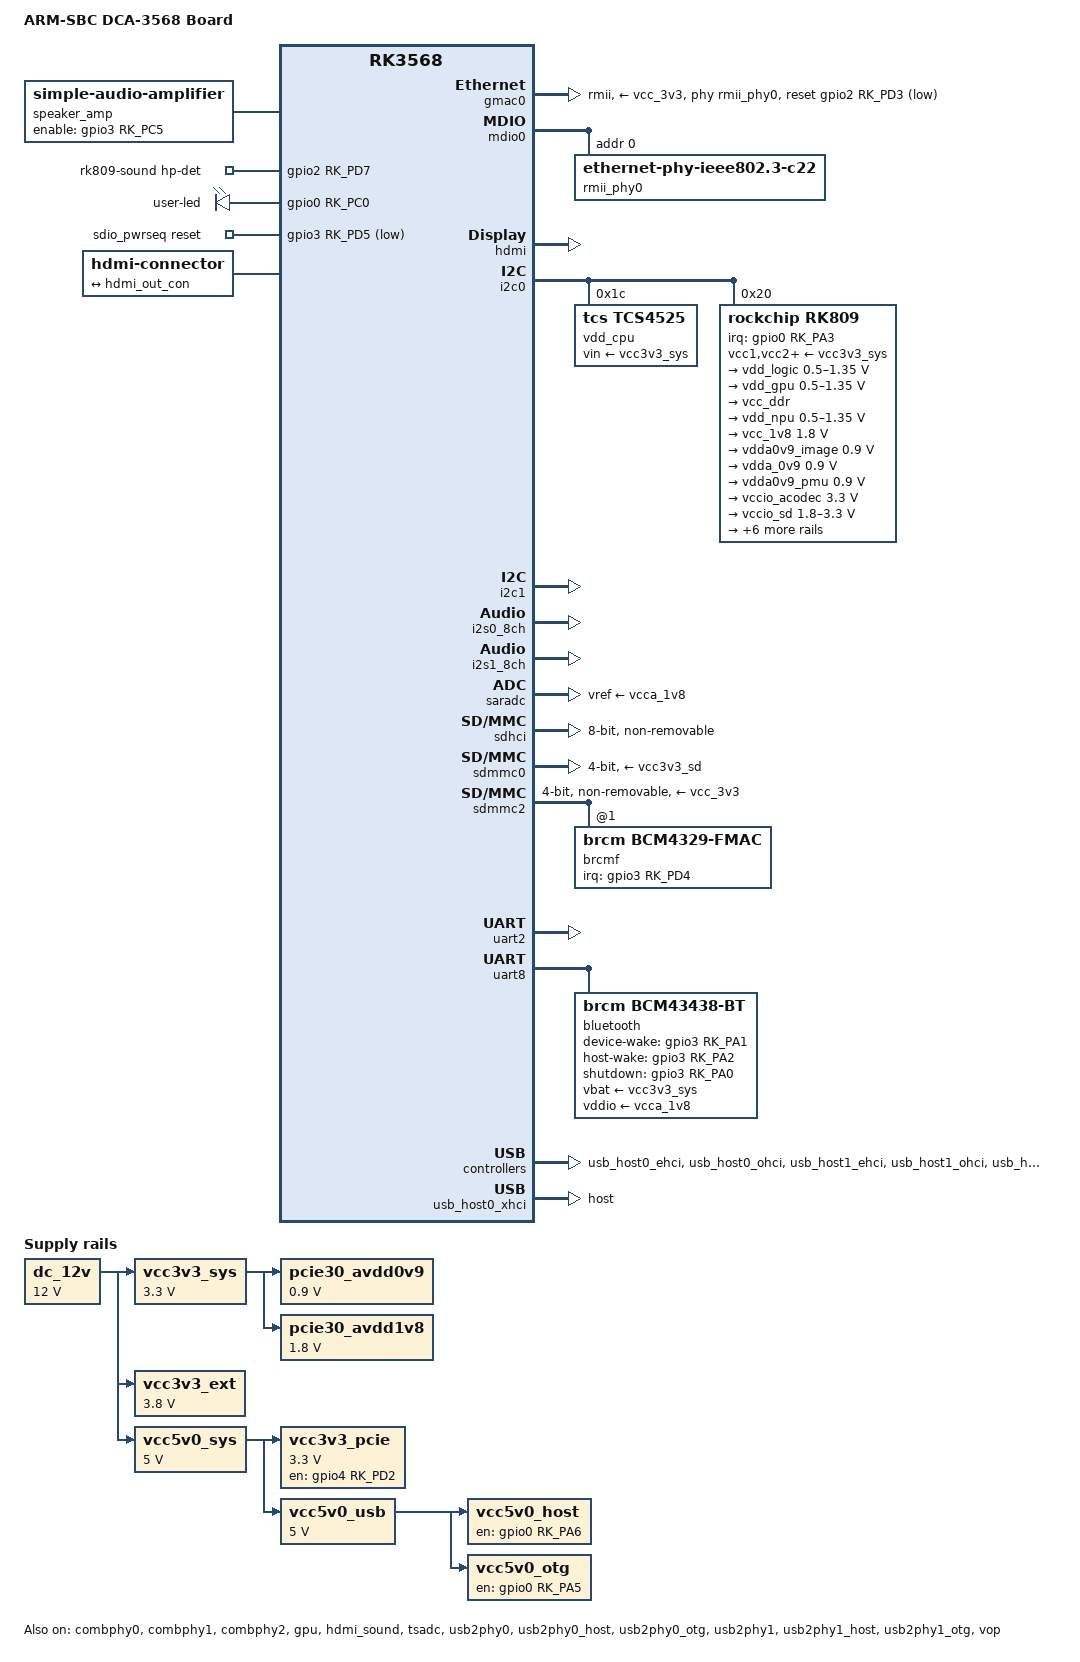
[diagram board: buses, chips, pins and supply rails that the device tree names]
// SPDX-License-Identifier: (GPL-2.0+ OR MIT)
/*
 * Copyright (c) 2021 Rockchip Electronics Co., Ltd.
 */

/dts-v1/;

#include <dt-bindings/gpio/gpio.h>
#include <dt-bindings/pinctrl/rockchip.h>
#include <dt-bindings/soc/rockchip,vop2.h>
#include "rk3568.dtsi"

/ {
	model = "ARM-SBC DCA-3568 Board";
	compatible = "arm-sbc,dca-3568", "rockchip,rk3568";

	aliases {
		ethernet0 = &gmac0;
		mmc0 = &sdhci;
		mmc1 = &sdmmc0;
	};

	chosen: chosen {
		stdout-path = "serial2:1500000n8";
	};
		
	speaker_amp: audio-amplifier {
		compatible = "simple-audio-amplifier";
		enable-gpios = <&gpio3 RK_PC5 GPIO_ACTIVE_HIGH>;
		sound-name-prefix = "Speaker Amp";
	};

	
    rk809-sound {
		compatible = "simple-audio-card";
		simple-audio-card,format = "i2s";
		simple-audio-card,name = "ROCKCHIP-809-SOUND";
		simple-audio-card,hp-det-gpio = <&gpio2 RK_PD7 GPIO_ACTIVE_HIGH>;
		simple-audio-card,mclk-fs = <256>;
		status = "okay";
		
		simple-audio-card,widgets =
			"Headphone", "Headphones",
			"Speaker", "Speaker";
		simple-audio-card,routing =
			"Headphones", "HPOL",
			"Headphones", "HPOR",
			"Speaker", "SPKO";
         
		simple-audio-card,cpu {
			sound-dai = <&i2s1_8ch>;
		};

		simple-audio-card,codec {
			sound-dai = <&rk809>;
		};
	};

	leds {
		compatible = "gpio-leds";

		led-user {
			label = "user-led";
			gpios = <&gpio0 RK_PC0 GPIO_ACTIVE_HIGH>;
			linux,default-trigger = "heartbeat";
			pinctrl-names = "default";
			pinctrl-0 = <&user_led_enable_h>;
			};
		};
	
	sdio_pwrseq: sdio-pwrseq {
		compatible = "mmc-pwrseq-simple";
		clocks = <&rk809 1>;
		clock-names = "ext_clock";
		pinctrl-names = "default";
		pinctrl-0 = <&wifi_enable>;
		post-power-on-delay-ms = <100>;
		power-off-delay-us = <5000000>;
		reset-gpios = <&gpio3 RK_PD5 GPIO_ACTIVE_LOW>;
	};

	hdmi-con {
		compatible = "hdmi-connector";
		type = "a";

		port {
			hdmi_con_in: endpoint {
				remote-endpoint = <&hdmi_out_con>;
			};
		};
	};

	dc_12v: dc-12v-regulator {
		compatible = "regulator-fixed";
		regulator-name = "dc_12v";
		regulator-always-on;
		regulator-boot-on;
		regulator-min-microvolt = <12000000>;
		regulator-max-microvolt = <12000000>;
	};
	
	vcc3v3_sys: vcc3v3-sys-regulator {
		compatible = "regulator-fixed";
		regulator-name = "vcc3v3_sys";
		regulator-always-on;
		regulator-boot-on;
		regulator-min-microvolt = <3300000>;
		regulator-max-microvolt = <3300000>;
		vin-supply = <&dc_12v>;
	};
	
	vcc3v3_ext: regulator-vcc3v3-ext {
		compatible = "regulator-fixed";
		regulator-name = "vcc3v3_ext";
		regulator-always-on;
		regulator-boot-on;
		regulator-min-microvolt = <3800000>;
		regulator-max-microvolt = <3800000>;
		vin-supply = <&dc_12v>;
	};
	
	vcc5v0_sys: vcc5v0-sys-regulator {
		compatible = "regulator-fixed";
		regulator-name = "vcc5v0_sys";
		regulator-always-on;
		regulator-boot-on;
		regulator-min-microvolt = <5000000>;
		regulator-max-microvolt = <5000000>;
		vin-supply = <&dc_12v>;
	};

	pcie30_avdd0v9: pcie30-avdd0v9-regulator {
		compatible = "regulator-fixed";
		regulator-name = "pcie30_avdd0v9";
		regulator-always-on;
		regulator-boot-on;
		regulator-min-microvolt = <900000>;
		regulator-max-microvolt = <900000>;
		vin-supply = <&vcc3v3_sys>;
	};

	pcie30_avdd1v8: pcie30-avdd1v8-regulator {
		compatible = "regulator-fixed";
		regulator-name = "pcie30_avdd1v8";
		regulator-always-on;
		regulator-boot-on;
		regulator-min-microvolt = <1800000>;
		regulator-max-microvolt = <1800000>;
		vin-supply = <&vcc3v3_sys>;
	};

	vcc3v3_pcie: vcc3v3-pcie-regulator {
		compatible = "regulator-fixed";
		regulator-name = "vcc3v3_pcie";
		enable-active-high;
		regulator-min-microvolt = <3300000>;
		regulator-max-microvolt = <3300000>;
		pinctrl-names = "default";
		pinctrl-0 = <&vcc3v3_pcie_en_pin>;
		gpio = <&gpio4 RK_PD2 GPIO_ACTIVE_HIGH>;
		startup-delay-us = <5000>;
		vin-supply = <&vcc5v0_sys>;
	};

	vcc5v0_usb: vcc5v0-usb-regulator {
		compatible = "regulator-fixed";
		regulator-name = "vcc5v0_usb";
		regulator-always-on;
		regulator-boot-on;
		regulator-min-microvolt = <5000000>;
		regulator-max-microvolt = <5000000>;
		vin-supply = <&vcc5v0_sys>;
	};

	vcc5v0_host: vcc5v0-host-regulator {
		compatible = "regulator-fixed";
		regulator-name = "vcc5v0_host";
		enable-active-high;
		gpio = <&gpio0 RK_PA6 GPIO_ACTIVE_HIGH>;
		pinctrl-names = "default";
		pinctrl-0 = <&vcc5v0_host_en>;
		regulator-always-on;
		vin-supply = <&vcc5v0_usb>;
	};

	vcc5v0_otg: vcc5v0-otg-regulator {
		compatible = "regulator-fixed";
		regulator-name = "vcc5v0_otg";
		enable-active-high;
		gpio = <&gpio0 RK_PA5 GPIO_ACTIVE_HIGH>;
		pinctrl-names = "default";
		pinctrl-0 = <&vcc5v0_otg_en>;
		vin-supply = <&vcc5v0_usb>;
	};
};

&combphy0 {
	/* Used for USB3 */
	phy-supply = <&vcc5v0_host>;
	status = "okay";
};

&combphy1 {
	/* Used for USB3 */
	phy-supply = <&vcc5v0_otg>;
	status = "okay";
};

&combphy2 {
	/* used for SATA */
	status = "okay";
};

&cpu0 {
	cpu-supply = <&vdd_cpu>;
};

&cpu1 {
	cpu-supply = <&vdd_cpu>;
};

&cpu2 {
	cpu-supply = <&vdd_cpu>;
};

&cpu3 {
	cpu-supply = <&vdd_cpu>;
};

&gmac0 {

	phy-mode = "rmii";
	clock_in_out = "output";

	snps,reset-gpio = <&gpio2 RK_PD3 GPIO_ACTIVE_LOW>;
	snps,reset-active-low;
	snps,reset-delays-us = <0 20000 100000>;
	assigned-clocks = <&cru SCLK_GMAC0_RX_TX>, <&cru SCLK_GMAC0>, <&cru CLK_MAC0_OUT>;
	assigned-clock-parents = <&cru SCLK_GMAC0_RMII_SPEED>;
	assigned-clock-rates = <0>, <50000000>, <25000000>;

	pinctrl-names = "default";
	pinctrl-0 = <&gmac0_miim &gmac0_clkinout &gmac0_rx_bus2 &gmac0_tx_bus2 &eth0_pins>;

	phy-handle = <&rmii_phy0>;
	phy-supply = <&vcc_3v3>;

	pinctrl-names = "default";
	status = "okay";
};

&mdio0 {
	rmii_phy0: phy@0 {
		compatible = "ethernet-phy-ieee802.3-c22";
		reg = <0x0>;
		clocks = <&cru CLK_MAC0_OUT>;
	};
};

&gpu {
	mali-supply = <&vdd_gpu>;
	status = "okay";
};

&hdmi {
	avdd-0v9-supply = <&vdda0v9_image>;
	avdd-1v8-supply = <&vcca1v8_image>;
	status = "okay";
};

&hdmi_in {
	hdmi_in_vp0: endpoint {
		remote-endpoint = <&vp0_out_hdmi>;
	};
};

&hdmi_out {
	hdmi_out_con: endpoint {
		remote-endpoint = <&hdmi_con_in>;
	};
};

&hdmi_sound {
	status = "okay";
};

&i2c0 {
	status = "okay";

	vdd_cpu: regulator@1c {
		compatible = "tcs,tcs4525";
		reg = <0x1c>;
		fcs,suspend-voltage-selector = <1>;
		regulator-name = "vdd_cpu";
		regulator-always-on;
		regulator-boot-on;
		regulator-min-microvolt = <800000>;
		regulator-max-microvolt = <1150000>;
		regulator-ramp-delay = <2300>;
		vin-supply = <&vcc3v3_sys>;

		regulator-state-mem {
			regulator-off-in-suspend;
		};
	};

	rk809: pmic@20 {
		compatible = "rockchip,rk809";
		reg = <0x20>;
		interrupt-parent = <&gpio0>;
		interrupts = <RK_PA3 IRQ_TYPE_LEVEL_LOW>;
		assigned-clocks = <&cru I2S1_MCLKOUT_TX>;
		assigned-clock-parents = <&cru CLK_I2S1_8CH_TX>;
		#clock-cells = <1>;
		clock-names = "mclk";
		clocks = <&cru I2S1_MCLKOUT_TX>;
		pinctrl-names = "default";
		pinctrl-0 = <&pmic_int_l>, <&i2s1m0_mclk>;
		rockchip,system-power-controller;
		#sound-dai-cells = <0>;
		vcc1-supply = <&vcc3v3_sys>;
		vcc2-supply = <&vcc3v3_sys>;
		vcc3-supply = <&vcc3v3_sys>;
		vcc4-supply = <&vcc3v3_sys>;
		vcc5-supply = <&vcc3v3_sys>;
		vcc6-supply = <&vcc3v3_sys>;
		vcc7-supply = <&vcc3v3_sys>;
		vcc8-supply = <&vcc3v3_sys>;
		vcc9-supply = <&vcc3v3_sys>;
		wakeup-source;
		
		codec {
			mic-in-differential;
		};


		regulators {
			vdd_logic: DCDC_REG1 {
				regulator-name = "vdd_logic";
				regulator-always-on;
				regulator-boot-on;
				regulator-initial-mode = <0x2>;
				regulator-min-microvolt = <500000>;
				regulator-max-microvolt = <1350000>;
				regulator-ramp-delay = <6001>;

				regulator-state-mem {
					regulator-off-in-suspend;
				};
			};

			vdd_gpu: DCDC_REG2 {
				regulator-name = "vdd_gpu";
				regulator-always-on;
				regulator-initial-mode = <0x2>;
				regulator-min-microvolt = <500000>;
				regulator-max-microvolt = <1350000>;
				regulator-ramp-delay = <6001>;

				regulator-state-mem {
					regulator-off-in-suspend;
				};
			};

			vcc_ddr: DCDC_REG3 {
				regulator-name = "vcc_ddr";
				regulator-always-on;
				regulator-boot-on;
				regulator-initial-mode = <0x2>;

				regulator-state-mem {
					regulator-on-in-suspend;
				};
			};

			vdd_npu: DCDC_REG4 {
				regulator-name = "vdd_npu";
				regulator-initial-mode = <0x2>;
				regulator-min-microvolt = <500000>;
				regulator-max-microvolt = <1350000>;
				regulator-ramp-delay = <6001>;

				regulator-state-mem {
					regulator-off-in-suspend;
				};
			};

			vcc_1v8: DCDC_REG5 {
				regulator-name = "vcc_1v8";
				regulator-always-on;
				regulator-boot-on;
				regulator-min-microvolt = <1800000>;
				regulator-max-microvolt = <1800000>;

				regulator-state-mem {
					regulator-off-in-suspend;
				};
			};

			vdda0v9_image: LDO_REG1 {
				regulator-name = "vdda0v9_image";
				regulator-always-on;
				regulator-min-microvolt = <900000>;
				regulator-max-microvolt = <900000>;

				regulator-state-mem {
					regulator-off-in-suspend;
				};
			};

			vdda_0v9: LDO_REG2 {
				regulator-name = "vdda_0v9";
				regulator-always-on;
				regulator-boot-on;
				regulator-min-microvolt = <900000>;
				regulator-max-microvolt = <900000>;

				regulator-state-mem {
					regulator-off-in-suspend;
				};
			};

			vdda0v9_pmu: LDO_REG3 {
				regulator-name = "vdda0v9_pmu";
				regulator-always-on;
				regulator-boot-on;
				regulator-min-microvolt = <900000>;
				regulator-max-microvolt = <900000>;

				regulator-state-mem {
					regulator-on-in-suspend;
					regulator-suspend-microvolt = <900000>;
				};
			};

			vccio_acodec: LDO_REG4 {
				regulator-name = "vccio_acodec";
				regulator-always-on;
				regulator-boot-on;
				regulator-min-microvolt = <3300000>;
				regulator-max-microvolt = <3300000>;

				regulator-state-mem {
					regulator-off-in-suspend;
				};
			};

			vccio_sd: LDO_REG5 {
				regulator-name = "vccio_sd";
				regulator-min-microvolt = <1800000>;
				regulator-max-microvolt = <3300000>;

				regulator-state-mem {
					regulator-off-in-suspend;
				};
			};

			vcc3v3_pmu: LDO_REG6 {
				regulator-name = "vcc3v3_pmu";
				regulator-always-on;
				regulator-boot-on;
				regulator-min-microvolt = <3300000>;
				regulator-max-microvolt = <3300000>;

				regulator-state-mem {
					regulator-on-in-suspend;
					regulator-suspend-microvolt = <3300000>;
				};
			};

			vcca_1v8: LDO_REG7 {
				regulator-name = "vcca_1v8";
				regulator-always-on;
				regulator-boot-on;
				regulator-min-microvolt = <1800000>;
				regulator-max-microvolt = <1800000>;

				regulator-state-mem {
					regulator-off-in-suspend;
				};
			};

			vcca1v8_pmu: LDO_REG8 {
				regulator-name = "vcca1v8_pmu";
				regulator-always-on;
				regulator-boot-on;
				regulator-min-microvolt = <1800000>;
				regulator-max-microvolt = <1800000>;

				regulator-state-mem {
					regulator-on-in-suspend;
					regulator-suspend-microvolt = <1800000>;
				};
			};

			vcca1v8_image: LDO_REG9 {
				regulator-name = "vcca1v8_image";
				regulator-always-on;
				regulator-min-microvolt = <1800000>;
				regulator-max-microvolt = <1800000>;

				regulator-state-mem {
					regulator-off-in-suspend;
				};
			};

			vcc_3v3: SWITCH_REG1 {
				regulator-name = "vcc_3v3";
				regulator-always-on;
				regulator-boot-on;

				regulator-state-mem {
					regulator-off-in-suspend;
				};
			};

			vcc3v3_sd: SWITCH_REG2 {
				regulator-name = "vcc3v3_sd";
				regulator-always-on;
				regulator-boot-on;

				regulator-state-mem {
					regulator-off-in-suspend;
				};
			};
		};
	};
};

&i2c1 {
	status = "okay";
};

&i2s0_8ch {
	/* hdmi sound */
	status = "okay";
};

&i2s1_8ch {
	status = "okay";
	rockchip,trcm-sync-tx-only;
	pinctrl-names = "default";
};

&pinctrl {
	leds {
		user_led_enable_h: user-led-enable-h {
			rockchip,pins = <0 RK_PC0 RK_FUNC_GPIO &pcfg_pull_none>;
		};
	};

	usb {
		vcc5v0_host_en: vcc5v0-host-en {
			rockchip,pins = <0 RK_PA6 RK_FUNC_GPIO &pcfg_pull_none>;
		};

		vcc5v0_otg_en: vcc5v0-otg-en {
			rockchip,pins = <0 RK_PA5 RK_FUNC_GPIO &pcfg_pull_none>;
		};
	};

	pmic {
		pmic_int_l: pmic-int-l {
			rockchip,pins =
				<0 RK_PA3 RK_FUNC_GPIO &pcfg_pull_up>;
		};
				
	};
	
	rk809 {
		hp_det_pin: hp-det-pin {
			rockchip,pins = <0 RK_PB0 RK_FUNC_GPIO &pcfg_pull_none>;
		};
	};
	
	pcie {
		vcc3v3_pcie_en_pin: vcc3v3-pcie-en-pin {
			rockchip,pins = <4 RK_PD2 RK_FUNC_GPIO &pcfg_pull_none>;
		};
	};

	
	bt {
		bt_enable_h: bt-enable-h {
			rockchip,pins = <3 RK_PA0 RK_FUNC_GPIO &pcfg_pull_none>;
		};

		bt_host_wake_l: bt-host-wake-l {
			rockchip,pins = <3 RK_PA2 RK_FUNC_GPIO &pcfg_pull_down>;
		};

		bt_wake_l: bt-wake-l {
			rockchip,pins = <3 RK_PA1 RK_FUNC_GPIO &pcfg_pull_none>;
		};
	};
	
	sdio-pwrseq {
		wifi_enable: wifi-enable {
			rockchip,pins = <3 RK_PD5 RK_FUNC_GPIO &pcfg_pull_none>;
		};

		wifi_host_wake_h: wifi-host-wake-l {
			rockchip,pins = <3 RK_PD4 RK_FUNC_GPIO &pcfg_pull_none>;
		};
	};
};

&pmu_io_domains {
	pmuio1-supply = <&vcc3v3_pmu>;
	pmuio2-supply = <&vcc3v3_pmu>;
	vccio1-supply = <&vccio_acodec>;
	vccio2-supply = <&vcc_1v8>;
	vccio3-supply = <&vccio_sd>;
	vccio4-supply = <&vcc_3v3>;
	vccio5-supply = <&vcc_3v3>;
	vccio6-supply = <&vcc_1v8>;
	vccio7-supply = <&vcc_3v3>;
	status = "okay";
};

&saradc {
	vref-supply = <&vcca_1v8>;
	status = "okay";
};

&sdhci {
	bus-width = <8>;
	supports-emmc;
	non-removable;
	rockchip,txclk-tapnum = <0x8>;
	max-frequency = <200000000>;
	status = "okay";
};

&sdmmc0 {
	max-frequency = <150000000>;
	supports-sd;
	bus-width = <4>;
	cap-mmc-highspeed;
	cap-sd-highspeed;
	disable-wp;
	sd-uhs-sdr104;
	vmmc-supply = <&vcc3v3_sd>;
	vqmmc-supply = <&vccio_sd>;
	pinctrl-names = "default";
	pinctrl-0 = <&sdmmc0_bus4 &sdmmc0_clk &sdmmc0_cmd &sdmmc0_det>;
	status = "okay";
};

&sdmmc2 {
	max-frequency = <150000000>;
	supports-sdio;
	#address-cells = <1>;
	#size-cells = <0>;
	bus-width = <4>;
	disable-wp;
	cap-sd-highspeed;
	cap-sdio-irq;
	keep-power-in-suspend;
	mmc-pwrseq = <&sdio_pwrseq>;
	non-removable;
	pinctrl-names = "default";
	pinctrl-0 = <&sdmmc2m0_bus4 &sdmmc2m0_cmd &sdmmc2m0_clk>;
	sd-uhs-sdr104;
	vmmc-supply = <&vcc_3v3>;
	vqmmc-supply = <&vcc_1v8>;
	status = "okay";
	
	brcmf: wifi@1 {
		compatible = "brcm,bcm4329-fmac";
		reg = <1>;
		interrupt-parent = <&gpio3>;
		interrupts = <RK_PD4 IRQ_TYPE_LEVEL_HIGH>;
		interrupt-names = "host-wake";
		pinctrl-names = "default";
		pinctrl-0 = <&wifi_host_wake_h>;
    };
};

&tsadc {
	rockchip,hw-tshut-mode = <1>;
	rockchip,hw-tshut-polarity = <0>;
	status = "okay";
};

&uart2 {
	status = "okay";
};

&uart8 {
	dma-names = "tx", "rx";
	pinctrl-names = "default";
	pinctrl-0 = <&uart8m0_rtsn>, <&uart8m0_xfer>, <&uart8m0_ctsn>;
	status = "okay";
	uart-has-rtscts;

	bluetooth {
		compatible = "brcm,bcm43438-bt";
		clocks = <&pmucru CLK_RTC_32K>;
		clock-names = "ext_clock";
		device-wake-gpios = <&gpio3 RK_PA1 GPIO_ACTIVE_HIGH>;
		host-wake-gpios = <&gpio3 RK_PA2 GPIO_ACTIVE_HIGH>;
		shutdown-gpios = <&gpio3 RK_PA0 GPIO_ACTIVE_HIGH>;
		pinctrl-names = "default";
		pinctrl-0 = <&bt_host_wake_l &bt_wake_l &bt_enable_h>;
		vbat-supply = <&vcc3v3_sys>;
		vddio-supply = <&vcca_1v8>;
	};
};

&usb_host0_ehci {
	status = "okay";
};

&usb_host0_ohci {
	status = "okay";
};

&usb_host0_xhci {
	dr_mode = "host";
	status = "okay";
};

&usb_host1_ehci {
	status = "okay";
};

&usb_host1_ohci {
	status = "okay";
};

&usb_host1_xhci {
	status = "okay";
};

&usb2phy0 {
	status = "okay";
};

&usb2phy0_host {
	phy-supply = <&vcc5v0_host>;
	status = "okay";
};

&usb2phy0_otg {
	phy-supply = <&vcc5v0_otg>;
	status = "okay";
};

&usb2phy1 {
	status = "okay";
};

&usb2phy1_host {
	phy-supply = <&vcc5v0_host>;
	status = "okay";
};

&usb2phy1_otg {
	phy-supply = <&vcc5v0_host>;
	status = "okay";
};

&vp0 {
	vp0_out_hdmi: endpoint@ROCKCHIP_VOP2_EP_HDMI0 {
		reg = <ROCKCHIP_VOP2_EP_HDMI0>;
		remote-endpoint = <&hdmi_in_vp0>;
	};
};

&vop {
	assigned-clocks = <&cru DCLK_VOP0>, <&cru DCLK_VOP1>;
	assigned-clock-parents = <&pmucru PLL_HPLL>, <&cru PLL_VPLL>;
	status = "okay";
};

&vop_mmu {
	status = "okay";
};
